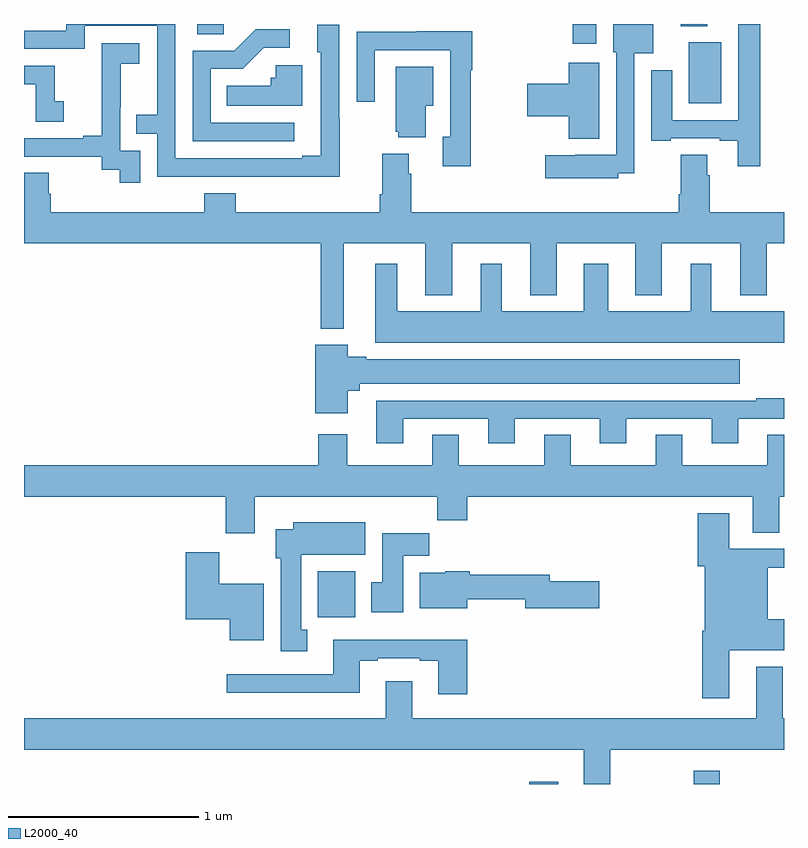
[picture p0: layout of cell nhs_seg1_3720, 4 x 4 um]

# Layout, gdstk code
import gdstk
lib = gdstk.Library(unit=1e-6, precision=1e-09)
def R(c, l, rs):  # rectangles x0, y0, x1, y1
    for r in rs: c.add(gdstk.rectangle(r[:2], r[2:], *l))
def P(c, l, *ps):  # polygons
    for p in ps: c.add(gdstk.Polygon(p, *l))
L2000_40 = (2000, 40)

nhs_seg1_3720 = lib.new_cell('nhs_seg1_3720')
R(nhs_seg1_3720, L2000_40, [(315.659,570.199,315.811,570.211), (316.526,570.199,316.662,570.268), (314.546,571.076,314.743,571.318), (316.499,573.782,316.669,574.102), (315.887,574.095,316.012,574.199), (313.913,574.144,314.052,574.199), (316.457,574.187,316.597,574.199)])
P(nhs_seg1_3720, L2000_40, [(314.661,573.701),(314.658,573.701),(314.658,574.195),(314.543,574.195),(314.543,574.05),(314.562,574.05),(314.562,573.701),(314.561,573.701),(314.561,573.505),(314.465,573.505),(314.465,573.492),(313.797,573.492),(313.797,574.199),(313.223,574.199),(313.223,574.164),(313,574.164),(313,574.068),(313.32,574.068),(313.32,574.191),(313.701,574.191),(313.701,573.722),(313.591,573.722),(313.591,573.621),(313.701,573.621),(313.701,573.396),(314.197,573.396),(314.197,573.395),(314.661,573.395)],
  [(316.874,574.199),(316.758,574.199),(316.758,573.693),(316.411,573.693),(316.411,573.955),(316.301,573.955),(316.301,573.585),(316.405,573.585),(316.405,573.597),(316.661,573.597),(316.661,573.585),(316.757,573.585),(316.757,573.45),(316.874,573.45)],
  [(316.128,573.413),(316.212,573.413),(316.212,574.046),(316.312,574.046),(316.312,574.199),(316.1,574.199),(316.1,574.05),(316.116,574.05),(316.116,573.51),(315.9,573.51),(315.9,573.508),(315.744,573.508),(315.744,573.386),(316.128,573.386)],
  [(314.422,573.678),(313.983,573.678),(313.983,573.963),(314.152,573.963),(314.263,574.074),(314.398,574.074),(314.398,574.172),(314.219,574.172),(314.106,574.059),(313.887,574.059),(313.887,573.582),(314.422,573.582)],
  [(315.352,573.955),(315.359,573.955),(315.359,574.16),(315.067,574.16),(315.067,574.158),(314.751,574.158),(314.751,573.789),(314.847,573.789),(314.847,574.062),(315.243,574.062),(315.243,573.606),(315.203,573.606),(315.203,573.45),(315.352,573.45)],
  [(313.611,573.531),(313.506,573.531),(313.506,573.761),(313.508,573.761),(313.508,573.989),(313.606,573.989),(313.606,574.099),(313.408,574.099),(313.408,573.893),(313.409,573.893),(313.409,573.61),(313.313,573.61),(313.313,573.597),(313,573.597),(313,573.501),(313.41,573.501),(313.41,573.433),(313.503,573.433),(313.503,573.363),(313.611,573.363)],
  [(316.027,573.994),(315.866,573.994),(315.866,573.884),(315.648,573.884),(315.648,573.713),(315.866,573.713),(315.866,573.596),(316.027,573.596)],
  [(314.464,573.982),(314.325,573.982),(314.325,573.915),(314.299,573.915),(314.299,573.874),(314.068,573.874),(314.068,573.77),(314.464,573.77)],
  [(313.21,573.793),(313.161,573.793),(313.161,573.978),(313,573.978),(313,573.882),(313.062,573.882),(313.062,573.684),(313.21,573.684)],
  [(315.115,573.77),(315.154,573.77),(315.154,573.973),(314.957,573.973),(314.957,573.633),(314.969,573.633),(314.969,573.602),(315.115,573.602)],
  [(314.885,573.517),(314.885,573.304),(314.873,573.304),(314.873,573.208),(314.114,573.208),(314.114,573.307),(313.949,573.307),(313.949,573.208),(313.142,573.208),(313.142,573.306),(313.129,573.306),(313.129,573.416),(313,573.416),(313,573.044),(314.562,573.044),(314.562,572.596),(314.683,572.596),(314.683,573.044),(315.113,573.044),(315.113,572.771),(315.253,572.771),(315.253,573.044),(315.665,573.044),(315.665,572.771),(315.805,572.771),(315.805,573.044),(316.217,573.044),(316.217,572.771),(316.357,572.771),(316.357,573.044),(316.769,573.044),(316.769,572.771),(316.909,572.771),(316.909,573.044),(317,573.044),(317,573.208),(316.61,573.208),(316.61,573.404),(316.597,573.404),(316.597,573.512),(316.457,573.512),(316.457,573.304),(316.445,573.304),(316.445,573.208),(315.038,573.208),(315.038,573.41),(315.025,573.41),(315.025,573.517)],
  [(317,572.686),(316.618,572.686),(316.618,572.938),(316.508,572.938),(316.508,572.686),(316.075,572.686),(316.075,572.938),(315.947,572.938),(315.947,572.686),(315.514,572.686),(315.514,572.938),(315.404,572.938),(315.404,572.686),(314.965,572.686),(314.965,572.938),(314.849,572.938),(314.849,572.522),(317,572.522)],
  [(314.704,572.27),(314.767,572.27),(314.767,572.306),(316.768,572.306),(316.768,572.434),(314.8,572.434),(314.8,572.447),(314.704,572.447),(314.704,572.511),(314.534,572.511),(314.534,572.151),(314.704,572.151)],
  [(314.995,572.121),(315.443,572.121),(315.443,571.992),(315.583,571.992),(315.583,572.121),(316.031,572.121),(316.031,571.992),(316.171,571.992),(316.171,572.121),(316.619,572.121),(316.619,571.992),(316.759,571.992),(316.759,572.121),(317,572.121),(317,572.23),(316.855,572.23),(316.855,572.217),(314.855,572.217),(314.855,571.992),(314.995,571.992)],
  [(314.215,571.712),(315.175,571.712),(315.175,571.588),(315.332,571.588),(315.332,571.712),(316.835,571.712),(316.835,571.522),(316.975,571.522),(316.975,571.712),(317,571.712),(317,572.036),(316.913,572.036),(316.913,571.876),(316.465,571.876),(316.465,572.036),(316.325,572.036),(316.325,571.876),(315.877,571.876),(315.877,572.036),(315.737,572.036),(315.737,571.876),(315.289,571.876),(315.289,572.036),(315.149,572.036),(315.149,571.876),(314.701,571.876),(314.701,572.041),(314.549,572.041),(314.549,571.876),(313,571.876),(313,571.712),(314.063,571.712),(314.063,571.518),(314.215,571.518)],
  [(316.711,570.902),(317,570.902),(317,571.066),(316.915,571.066),(316.915,571.336),(317,571.336),(317,571.437),(316.711,571.437),(316.711,571.624),(316.547,571.624),(316.547,571.344),(316.583,571.344),(316.583,571.006),(316.571,571.006),(316.571,570.651),(316.711,570.651)],
  [(314.491,571.01),(314.458,571.01),(314.458,571.406),(314.797,571.406),(314.797,571.576),(314.417,571.576),(314.417,571.54),(314.324,571.54),(314.324,571.386),(314.351,571.386),(314.351,570.897),(314.491,570.897)],
  [(314.995,571.4),(315.134,571.4),(315.134,571.518),(314.885,571.518),(314.885,571.26),(314.828,571.26),(314.828,571.104),(314.995,571.104)],
  [(314.263,571.252),(314.028,571.252),(314.028,571.42),(313.85,571.42),(313.85,571.067),(314.084,571.067),(314.084,570.956),(314.263,570.956)],
  [(315.334,571.171),(315.638,571.171),(315.638,571.124),(316.027,571.124),(316.027,571.266),(315.766,571.266),(315.766,571.3),(315.347,571.3),(315.347,571.318),(315.216,571.318),(315.216,571.312),(315.083,571.312),(315.083,571.124),(315.334,571.124)],
  [(315.332,570.958),(314.627,570.958),(314.627,570.777),(314.067,570.777),(314.067,570.68),(314.767,570.68),(314.767,570.849),(314.863,570.849),(314.863,570.861),(315.083,570.861),(315.083,570.849),(315.179,570.849),(315.179,570.672),(315.332,570.672)],
  [(316.086,570.38),(317,570.38),(317,570.544),(316.993,570.544),(316.993,570.817),(316.853,570.817),(316.853,570.544),(315.043,570.544),(315.043,570.739),(314.903,570.739),(314.903,570.544),(313,570.544),(313,570.38),(315.947,570.38),(315.947,570.199),(316.086,570.199)])

lib.write_gds('nhs_seg1_3720.gds')
